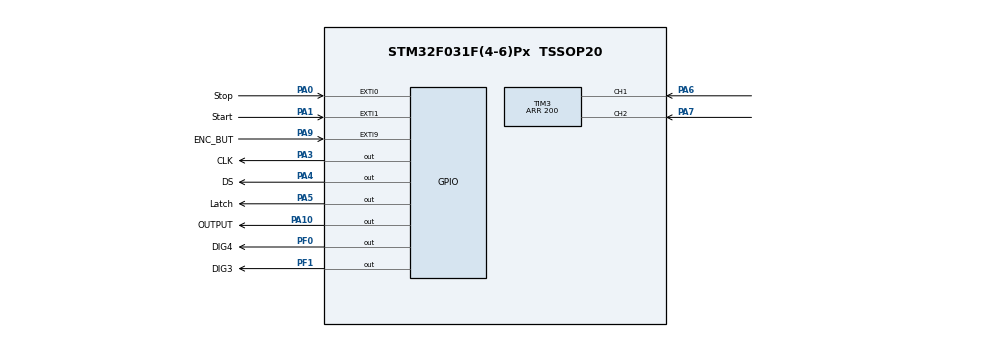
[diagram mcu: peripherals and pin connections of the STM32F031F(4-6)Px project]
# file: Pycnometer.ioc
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Mcu.Family=STM32F0
PA9.GPIO_Label=ENC_BUT
PA0.GPIO_Label=Stop
PA9.GPIO_PuPd=GPIO_PULLDOWN
ProjectManager.StackSize=0x400
PA13.Signal=SYS_SWDIO
ProjectManager.TargetToolchain=STM32CubeIDE
TIM3.Period=200
PA9.Signal=GPXTI9
PA1.GPIO_PuPd=GPIO_PULLDOWN
PA1.Signal=GPXTI1
PA7.GPIO_PuPd=GPIO_PULLUP
PA5.Signal=GPIO_Output
SH.S_TIM3_CH2.0=TIM3_CH2,Encoder_Interface
PF0-OSC_IN.GPIO_Label=DIG4
board=custom
PA6.GPIO_PuPd=GPIO_PULLUP
VP_TIM2_VS_ClockSourceINT.Mode=Internal
PA14.Mode=Serial_Wire
PA0.GPIO_ModeDefaultEXTI=GPIO_MODE_IT_FALLING
NVIC.TIM2_IRQn=true\:0\:0\:false\:false\:true\:true\:true
PF1-OSC_OUT.GPIO_Label=DIG3
PA1.GPIO_Label=Start
PA10.GPIO_Label=OUTPUT
SH.S_TIM3_CH1.0=TIM3_CH1,Encoder_Interface
TIM2.Period=39
PA13.Mode=Serial_Wire
Mcu.Name=STM32F031F(4-6)Px
PA0.Signal=GPXTI0
PA4.Signal=GPIO_Output
Mcu.Package=TSSOP20
TIM2.Prescaler=99
PA6.Signal=S_TIM3_CH1
PA5.GPIO_Label=Latch
PA0.GPIO_PuPd=GPIO_PULLDOWN
PA10.Signal=GPIO_Output
PA14.Signal=SYS_SWCLK
ProjectManager.HeapSize=0x200
PF0-OSC_IN.Signal=GPIO_Output
PA4.GPIO_Label=DS
PF1-OSC_OUT.Signal=GPIO_Output
NVIC.EXTI4_15_IRQn=true\:0\:0\:false\:false\:true\:true\:true
PA3.GPIO_Label=CLK
PA3.Signal=GPIO_Output
PA7.Signal=S_TIM3_CH2
NVIC.EXTI0_1_IRQn=true\:0\:0\:false\:false\:true\:true\:true

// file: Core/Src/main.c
/* USER CODE BEGIN Header */
/**
  ******************************************************************************
  * @file           : main.c
  * @brief          : Main program body
  ******************************************************************************
  * @attention
  *
  * <h2><center>&copy; Copyright (c) 2022 STMicroelectronics.
  * All rights reserved.</center></h2>
  *
  * This software component is licensed by ST under BSD 3-Clause license,
  * the "License"; You may not use this file except in compliance with the
  * License. You may obtain a copy of the License at:
  *                        opensource.org/licenses/BSD-3-Clause
  *
  ******************************************************************************
  */
/* USER CODE END Header */
#include "main.h"

TIM_HandleTypeDef htim2;
TIM_HandleTypeDef htim3;

/* USER CODE BEGIN PV */

/* Enc. vars */

uint8_t Reg_Counter = 0;
uint8_t TimerCounter = 0;

uint8_t StartFlag = 0;

uint8_t IndicatorsFlag = 0;

uint8_t TimerFlag = 0;
uint16_t GlobalTempValue = 0;
uint8_t LEDsFlag = 0;

				// get average ADC val
/* USER CODE END PV */

void SystemClock_Config(void);
static void MX_GPIO_Init(void);
static void MX_TIM3_Init(void);
static void MX_TIM2_Init(void);

/* USER CODE BEGIN 0 */
void HAL_GPIO_EXTI_Callback(uint16_t GPIO_Pin)
{
  // Start button "on" - start timer
  if(GPIO_Pin == Start_Pin) TimerFlag = 1;

  // Reset button "on" - reset timer
  else if(GPIO_Pin == Stop_Pin) {
	  TimerFlag = 0;
	  HAL_GPIO_WritePin(OUTPUT_GPIO_Port, OUTPUT_Pin, RESET);
  }

  // Encoder button "on" - set 15 minutes
  else if(GPIO_Pin == ENC_BUT_Pin){
	  __HAL_TIM_SET_COUNTER(&htim3, 30);
  }

    else{

    __NOP();

  }

}

/* USER CODE END 0 */

int main(void)
{

  /* MCU Configuration--------------------------------------------------------*/

  /* Reset of all peripherals, Initializes the Flash interface and the Systick. */
  HAL_Init();

  /* Configure the system clock */
  SystemClock_Config();

  /* Initialize all configured peripherals */
  MX_GPIO_Init();
  MX_TIM3_Init();
  MX_TIM2_Init();
  /* USER CODE BEGIN 2 */
  uint8_t _StartValue = 0;
  uint8_t _Enc_Counter = 0;

  /* Rotary (Incremental) encoder */
  HAL_TIM_Encoder_Start(&htim3, TIM_CHANNEL_ALL);

  /* Sent data to HC595 and show number on LEDs*/
  HAL_TIM_Base_Start_IT(&htim2);

  // Reset LEDs
  HAL_GPIO_WritePin(DIG3_GPIO_Port, DIG3_Pin, SET);
  HAL_GPIO_WritePin(DIG4_GPIO_Port, DIG4_Pin, SET);

  /* USER CODE END 2 */

  /* Infinite loop */
  while (1)
  {

    /* USER CODE BEGIN 3 */

	  if(!LEDsFlag && (LED_Counter < DIGITS_NUM))
	  {
	  	  LEDsFlag = 1;

	  	  if(StartFlag) SEG_LCD_Process(LED_Counter);
	  	  if(!StartFlag) StartFlag = 1;
	  }

	  if(IndicatorsFlag && !TimerFlag)
	  {
		  // Read encoder data
		  _Enc_Counter = TIM3->CNT;
		  _StartValue = _Enc_Counter/2;
		  TimerCounter = _StartValue;
	  	  SEG_LCD_WriteNumber(_StartValue);
	  	  IndicatorsFlag = 0;
	  }

	  else if (IndicatorsFlag && TimerFlag)
	  {
		  if (TimerCounter == _StartValue) HAL_GPIO_WritePin(OUTPUT_GPIO_Port, OUTPUT_Pin, SET);

		  if (TimerCounter == 0)
		  {
		  		TimerFlag = 0;
		  		HAL_GPIO_WritePin(OUTPUT_GPIO_Port, OUTPUT_Pin, RESET);
		  }

		  SEG_LCD_WriteNumber(TimerCounter);
		  IndicatorsFlag = 0;

	  }

	  else {__NOP();}

	  //else
	//

	  //HAL_Delay(1);

//	  if(Enc_Counter == 0) SEG_LCD_WriteNumber(Enc_Counter);
//	  else SEG_LCD_WriteNumber(Enc_Counter-1);

//	  HC595SendData(0xF6);
//	  HAL_GPIO_WritePin(DIG3_GPIO_Port, DIG3_Pin, RESET);

// 	TESTS
//  HAL_GPIO_TogglePin(DS_GPIO_Port, DS_Pin);
//  HAL_Delay(1000);

  }
  /* USER CODE END 3 */
}

void SystemClock_Config(void)
{
  RCC_OscInitTypeDef RCC_OscInitStruct = {0};
  RCC_ClkInitTypeDef RCC_ClkInitStruct = {0};

  /** Initializes the RCC Oscillators according to the specified parameters
  * in the RCC_OscInitTypeDef structure.
  */
  RCC_OscInitStruct.OscillatorType = RCC_OSCILLATORTYPE_HSI;
  RCC_OscInitStruct.HSIState = RCC_HSI_ON;
  RCC_OscInitStruct.HSICalibrationValue = RCC_HSICALIBRATION_DEFAULT;
  RCC_OscInitStruct.PLL.PLLState = RCC_PLL_NONE;
  if (HAL_RCC_OscConfig(&RCC_OscInitStruct) != HAL_OK)
  {
    Error_Handler();
  }
  /** Initializes the CPU, AHB and APB buses clocks
  */
  RCC_ClkInitStruct.ClockType = RCC_CLOCKTYPE_HCLK|RCC_CLOCKTYPE_SYSCLK
                              |RCC_CLOCKTYPE_PCLK1;
  RCC_ClkInitStruct.SYSCLKSource = RCC_SYSCLKSOURCE_HSI;
  RCC_ClkInitStruct.AHBCLKDivider = RCC_SYSCLK_DIV1;
  RCC_ClkInitStruct.APB1CLKDivider = RCC_HCLK_DIV1;

  if (HAL_RCC_ClockConfig(&RCC_ClkInitStruct, FLASH_LATENCY_0) != HAL_OK)
  {
    Error_Handler();
  }
}

static void MX_TIM2_Init(void)
{

  TIM_ClockConfigTypeDef sClockSourceConfig = {0};
  TIM_MasterConfigTypeDef sMasterConfig = {0};

  htim2.Instance = TIM2;
  htim2.Init.Prescaler = 99;
  htim2.Init.CounterMode = TIM_COUNTERMODE_UP;
  htim2.Init.Period = 39;
  htim2.Init.ClockDivision = TIM_CLOCKDIVISION_DIV1;
  htim2.Init.AutoReloadPreload = TIM_AUTORELOAD_PRELOAD_DISABLE;
  if (HAL_TIM_Base_Init(&htim2) != HAL_OK)
  {
    Error_Handler();
  }
  sClockSourceConfig.ClockSource = TIM_CLOCKSOURCE_INTERNAL;
  if (HAL_TIM_ConfigClockSource(&htim2, &sClockSourceConfig) != HAL_OK)
  {
    Error_Handler();
  }
  sMasterConfig.MasterOutputTrigger = TIM_TRGO_RESET;
  sMasterConfig.MasterSlaveMode = TIM_MASTERSLAVEMODE_DISABLE;
  if (HAL_TIMEx_MasterConfigSynchronization(&htim2, &sMasterConfig) != HAL_OK)
  {
    Error_Handler();
  }

}

static void MX_TIM3_Init(void)
{

  TIM_Encoder_InitTypeDef sConfig = {0};
  TIM_MasterConfigTypeDef sMasterConfig = {0};

  htim3.Instance = TIM3;
  htim3.Init.Prescaler = 0;
  htim3.Init.CounterMode = TIM_COUNTERMODE_UP;
  htim3.Init.Period = 200;
  htim3.Init.ClockDivision = TIM_CLOCKDIVISION_DIV1;
  htim3.Init.AutoReloadPreload = TIM_AUTORELOAD_PRELOAD_DISABLE;
  sConfig.EncoderMode = TIM_ENCODERMODE_TI1;
  sConfig.IC1Polarity = TIM_ICPOLARITY_RISING;
  sConfig.IC1Selection = TIM_ICSELECTION_DIRECTTI;
  sConfig.IC1Prescaler = TIM_ICPSC_DIV1;
  sConfig.IC1Filter = 0;
  sConfig.IC2Polarity = TIM_ICPOLARITY_RISING;
  sConfig.IC2Selection = TIM_ICSELECTION_DIRECTTI;
  sConfig.IC2Prescaler = TIM_ICPSC_DIV1;
  sConfig.IC2Filter = 0;
  if (HAL_TIM_Encoder_Init(&htim3, &sConfig) != HAL_OK)
  {
    Error_Handler();
  }
  sMasterConfig.MasterOutputTrigger = TIM_TRGO_RESET;
  sMasterConfig.MasterSlaveMode = TIM_MASTERSLAVEMODE_DISABLE;
  if (HAL_TIMEx_MasterConfigSynchronization(&htim3, &sMasterConfig) != HAL_OK)
  {
    Error_Handler();
  }

}

static void MX_GPIO_Init(void)
{
  GPIO_InitTypeDef GPIO_InitStruct = {0};

  /* GPIO Ports Clock Enable */
  __HAL_RCC_GPIOF_CLK_ENABLE();
  __HAL_RCC_GPIOA_CLK_ENABLE();

  /*Configure GPIO pin Output Level */
  HAL_GPIO_WritePin(GPIOF, DIG4_Pin|DIG3_Pin, GPIO_PIN_RESET);

  /*Configure GPIO pin Output Level */
  HAL_GPIO_WritePin(GPIOA, CLK_Pin|DS_Pin|Latch_Pin|OUTPUT_Pin, GPIO_PIN_RESET);

  /*Configure GPIO pins : DIG4_Pin DIG3_Pin */
  GPIO_InitStruct.Pin = DIG4_Pin|DIG3_Pin;
  GPIO_InitStruct.Mode = GPIO_MODE_OUTPUT_PP;
  GPIO_InitStruct.Pull = GPIO_NOPULL;
  GPIO_InitStruct.Speed = GPIO_SPEED_FREQ_LOW;
  HAL_GPIO_Init(GPIOF, &GPIO_InitStruct);

  /*Configure GPIO pin : Stop_Pin */
  GPIO_InitStruct.Pin = Stop_Pin;
  GPIO_InitStruct.Mode = GPIO_MODE_IT_FALLING;
  GPIO_InitStruct.Pull = GPIO_PULLDOWN;
  HAL_GPIO_Init(Stop_GPIO_Port, &GPIO_InitStruct);

  /*Configure GPIO pins : Start_Pin ENC_BUT_Pin */
  GPIO_InitStruct.Pin = Start_Pin|ENC_BUT_Pin;
  GPIO_InitStruct.Mode = GPIO_MODE_IT_RISING;
  GPIO_InitStruct.Pull = GPIO_PULLDOWN;
  HAL_GPIO_Init(GPIOA, &GPIO_InitStruct);

  /*Configure GPIO pins : CLK_Pin DS_Pin Latch_Pin OUTPUT_Pin */
  GPIO_InitStruct.Pin = CLK_Pin|DS_Pin|Latch_Pin|OUTPUT_Pin;
  GPIO_InitStruct.Mode = GPIO_MODE_OUTPUT_PP;
  GPIO_InitStruct.Pull = GPIO_NOPULL;
  GPIO_InitStruct.Speed = GPIO_SPEED_FREQ_LOW;
  HAL_GPIO_Init(GPIOA, &GPIO_InitStruct);

  /* EXTI interrupt init*/
  HAL_NVIC_SetPriority(EXTI0_1_IRQn, 0, 0);
  HAL_NVIC_EnableIRQ(EXTI0_1_IRQn);

  HAL_NVIC_SetPriority(EXTI4_15_IRQn, 0, 0);
  HAL_NVIC_EnableIRQ(EXTI4_15_IRQn);

}

void Error_Handler(void)
{
  __disable_irq();
  while (1)
  {
  }
}

/************************ (C) COPYRIGHT STMicroelectronics *****END OF FILE****/
